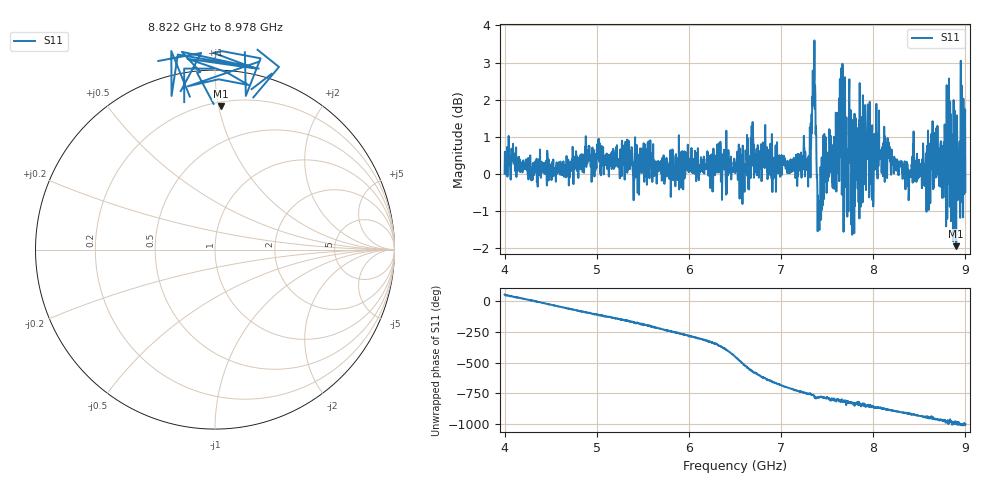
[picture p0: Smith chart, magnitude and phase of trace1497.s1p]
! Created with skrf 1.8.0 (http://scikit-rf.org).
# Hz S RI R 50.0
!freq ReS11 ImS11
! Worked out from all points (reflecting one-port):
!   1601 points, 4 GHz to 9 GHz, reference 50 ohm
!   lowest |S11| = -1.9 dB at 8.9 GHz (marker M1), VSWR 9.00, Z = 11.4 + j50.7 ohm
!   phase of S11 starts at 51 deg and turns -1050 deg over the sweep
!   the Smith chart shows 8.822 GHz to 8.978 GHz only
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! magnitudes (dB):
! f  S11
! 4 GHz  0.0
! 4.625 GHz  0.0
! 5.25 GHz  -0.1
! 5.875 GHz  0.0
! 6.5 GHz  0.1
! 6.697 GHz  1.0
! 7.125 GHz  0.3
! 7.294 GHz  -0.3
! 7.353 GHz  2.4
! 7.369 GHz  2.4
! 7.4 GHz  -0.6
! 7.412 GHz  -1.1
! 7.478 GHz  0.7
! 7.575 GHz  1.0
! 7.647 GHz  0.5
! 7.75 GHz  0.8
! 7.784 GHz  -0.3
! 7.928 GHz  0.8
! 7.981 GHz  0.1
! 8.038 GHz  0.7
! 8.375 GHz  0.0
! 8.603 GHz  -1.0
! 8.656 GHz  1.1
! 8.766 GHz  0.9
! 8.822 GHz  2.6
! 8.9 GHz  -1.9
! 8.972 GHz  0.7
! 9 GHz  -0.5
